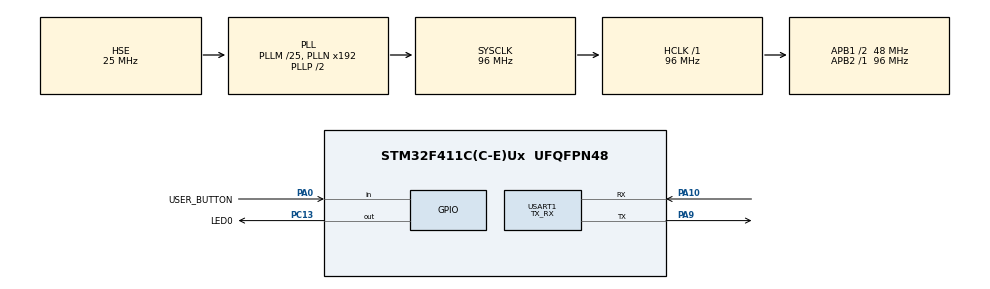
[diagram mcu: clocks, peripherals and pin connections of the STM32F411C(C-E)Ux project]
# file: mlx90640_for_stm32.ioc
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Mcu.Family=STM32F4
Mcu.Name=STM32F411C(C-E)Ux
Mcu.Package=UFQFPN48
NVIC.PriorityGroup=NVIC_PRIORITYGROUP_4
PA0-WKUP.GPIO_Label=USER_BUTTON
PA0-WKUP.GPIO_Mode=GPIO_MODE_INPUT
PA0-WKUP.GPIO_PuPd=GPIO_PULLUP
PA0-WKUP.Signal=GPIO_Input
PA10.Mode=Asynchronous
PA10.Signal=USART1_RX
PA9.Mode=Asynchronous
PA9.Signal=USART1_TX
PC13-ANTI_TAMP.GPIO_Label=LED0
PC13-ANTI_TAMP.GPIO_ModeDefaultOutputPP=GPIO_MODE_OUTPUT_PP
PC13-ANTI_TAMP.GPIO_Speed=GPIO_SPEED_FREQ_LOW
PC13-ANTI_TAMP.PinState=GPIO_PIN_SET
PC13-ANTI_TAMP.Signal=GPIO_Output
PH0\ -\ OSC_IN.Mode=HSE-External-Oscillator
PH0\ -\ OSC_IN.Signal=RCC_OSC_IN
PH1\ -\ OSC_OUT.Mode=HSE-External-Oscillator
PH1\ -\ OSC_OUT.Signal=RCC_OSC_OUT
ProjectManager.HeapSize=0x200
ProjectManager.StackSize=0x10000
ProjectManager.TargetToolchain=MDK-ARM V5.32
RCC.48MHZClocksFreq_Value=48000000
RCC.AHBFreq_Value=96000000
RCC.APB1CLKDivider=RCC_HCLK_DIV2
RCC.APB1Freq_Value=48000000
RCC.APB1TimFreq_Value=96000000
RCC.APB2Freq_Value=96000000
RCC.APB2TimFreq_Value=96000000
RCC.CortexFreq_Value=96000000
RCC.HCLKFreq_Value=96000000
RCC.HSE_VALUE=25000000
RCC.HSI_VALUE=16000000
RCC.LSE_VALUE=32768
RCC.PLLM=25
RCC.PLLSourceVirtual=RCC_PLLSOURCE_HSE
RCC.SYSCLKFreq_VALUE=96000000
RCC.SYSCLKSource=RCC_SYSCLKSOURCE_PLLCLK
RCC.VCOOutputFreq_Value=192000000
USART1.Mode=MODE_TX_RX
USART1.VirtualMode=VM_ASYNC
board=custom

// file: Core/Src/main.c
/* USER CODE BEGIN Header */
/**
  ******************************************************************************
  * @file           : main.c
  * @brief          : Main program body
  ******************************************************************************
  * @attention
  *
  * Copyright (c) 2023 STMicroelectronics.
  * All rights reserved.
  *
  * This software is licensed under terms that can be found in the LICENSE file
  * in the root directory of this software component.
  * If no LICENSE file comes with this software, it is provided AS-IS.
  *
  ******************************************************************************
  */
/* USER CODE END Header */
#include "main.h"

/* USER CODE BEGIN Includes */
#include "menu.h"
/* USER CODE END Includes */

/* USER CODE BEGIN PD */

extern pFunction JumpToApplication;
extern uint32_t JumpAddress;
/* USER CODE END PD */

UART_HandleTypeDef huart1;

void SystemClock_Config(void);
static void MX_GPIO_Init(void);
static void MX_USART1_UART_Init(void);

/* USER CODE BEGIN 0 */
uint8_t usb_send_str[] = "this message from stm32!";
/* USER CODE END 0 */

int main(void)
{
  /* USER CODE BEGIN 1 */

	int status;

  /* USER CODE END 1 */

  /* MCU Configuration--------------------------------------------------------*/

  /* Reset of all peripherals, Initializes the Flash interface and the Systick. */
  HAL_Init();

  /* Configure the system clock */
  SystemClock_Config();

  /* Initialize all configured peripherals */
  MX_GPIO_Init();
  MX_USART1_UART_Init();
  /* USER CODE BEGIN 2 */

	HAL_Delay(20);
	if (HAL_GPIO_ReadPin(USER_BUTTON_GPIO_Port, USER_BUTTON_Pin) == GPIO_PIN_RESET)
	{
		HAL_GPIO_WritePin(LED0_GPIO_Port, LED0_Pin, GPIO_PIN_RESET);
		Main_Menu();
	}
	else
	{
		HAL_GPIO_WritePin(LED0_GPIO_Port, LED0_Pin, GPIO_PIN_SET);
    /* Test if user code is programmed starting from address "APPLICATION_ADDRESS" */
    if (((*(__IO uint32_t*)APPLICATION_ADDRESS) & 0x2FFE0000 ) == 0x20000000)
    {
      /* Jump to user application */
      JumpAddress = *(__IO uint32_t*) (APPLICATION_ADDRESS + 4);
      JumpToApplication = (pFunction) JumpAddress;
      /* Initialize user application's Stack Pointer */
      __set_MSP(*(__IO uint32_t*) APPLICATION_ADDRESS);
      JumpToApplication();
    }
	}

  /* USER CODE END 2 */

  /* Infinite loop */
  while (1)
  {

  }
}

void SystemClock_Config(void)
{
  RCC_OscInitTypeDef RCC_OscInitStruct = {0};
  RCC_ClkInitTypeDef RCC_ClkInitStruct = {0};

  /** Configure the main internal regulator output voltage
  */
  __HAL_RCC_PWR_CLK_ENABLE();
  __HAL_PWR_VOLTAGESCALING_CONFIG(PWR_REGULATOR_VOLTAGE_SCALE1);

  /** Initializes the RCC Oscillators according to the specified parameters
  * in the RCC_OscInitTypeDef structure.
  */
  RCC_OscInitStruct.OscillatorType = RCC_OSCILLATORTYPE_HSE;
  RCC_OscInitStruct.HSEState = RCC_HSE_ON;
  RCC_OscInitStruct.PLL.PLLState = RCC_PLL_ON;
  RCC_OscInitStruct.PLL.PLLSource = RCC_PLLSOURCE_HSE;
  RCC_OscInitStruct.PLL.PLLM = 25;
  RCC_OscInitStruct.PLL.PLLN = 192;
  RCC_OscInitStruct.PLL.PLLP = RCC_PLLP_DIV2;
  RCC_OscInitStruct.PLL.PLLQ = 4;
  if (HAL_RCC_OscConfig(&RCC_OscInitStruct) != HAL_OK)
  {
    Error_Handler();
  }

  /** Initializes the CPU, AHB and APB buses clocks
  */
  RCC_ClkInitStruct.ClockType = RCC_CLOCKTYPE_HCLK|RCC_CLOCKTYPE_SYSCLK
                              |RCC_CLOCKTYPE_PCLK1|RCC_CLOCKTYPE_PCLK2;
  RCC_ClkInitStruct.SYSCLKSource = RCC_SYSCLKSOURCE_PLLCLK;
  RCC_ClkInitStruct.AHBCLKDivider = RCC_SYSCLK_DIV1;
  RCC_ClkInitStruct.APB1CLKDivider = RCC_HCLK_DIV2;
  RCC_ClkInitStruct.APB2CLKDivider = RCC_HCLK_DIV1;

  if (HAL_RCC_ClockConfig(&RCC_ClkInitStruct, FLASH_LATENCY_3) != HAL_OK)
  {
    Error_Handler();
  }
}

static void MX_USART1_UART_Init(void)
{

  huart1.Instance = USART1;
  huart1.Init.BaudRate = 115200;
  huart1.Init.WordLength = UART_WORDLENGTH_8B;
  huart1.Init.StopBits = UART_STOPBITS_1;
  huart1.Init.Parity = UART_PARITY_NONE;
  huart1.Init.Mode = UART_MODE_TX_RX;
  huart1.Init.HwFlowCtl = UART_HWCONTROL_NONE;
  huart1.Init.OverSampling = UART_OVERSAMPLING_16;
  if (HAL_UART_Init(&huart1) != HAL_OK)
  {
    Error_Handler();
  }

}

static void MX_GPIO_Init(void)
{
  GPIO_InitTypeDef GPIO_InitStruct = {0};

  /* GPIO Ports Clock Enable */
  __HAL_RCC_GPIOC_CLK_ENABLE();
  __HAL_RCC_GPIOH_CLK_ENABLE();
  __HAL_RCC_GPIOA_CLK_ENABLE();

  /*Configure GPIO pin Output Level */
  HAL_GPIO_WritePin(LED0_GPIO_Port, LED0_Pin, GPIO_PIN_SET);

  /*Configure GPIO pin : LED0_Pin */
  GPIO_InitStruct.Pin = LED0_Pin;
  GPIO_InitStruct.Mode = GPIO_MODE_OUTPUT_PP;
  GPIO_InitStruct.Pull = GPIO_NOPULL;
  GPIO_InitStruct.Speed = GPIO_SPEED_FREQ_LOW;
  HAL_GPIO_Init(LED0_GPIO_Port, &GPIO_InitStruct);

  /*Configure GPIO pin : USER_BUTTON_Pin */
  GPIO_InitStruct.Pin = USER_BUTTON_Pin;
  GPIO_InitStruct.Mode = GPIO_MODE_INPUT;
  GPIO_InitStruct.Pull = GPIO_PULLUP;
  HAL_GPIO_Init(USER_BUTTON_GPIO_Port, &GPIO_InitStruct);

}

void Error_Handler(void)
{
  __disable_irq();
  while (1)
  {
  }
}
